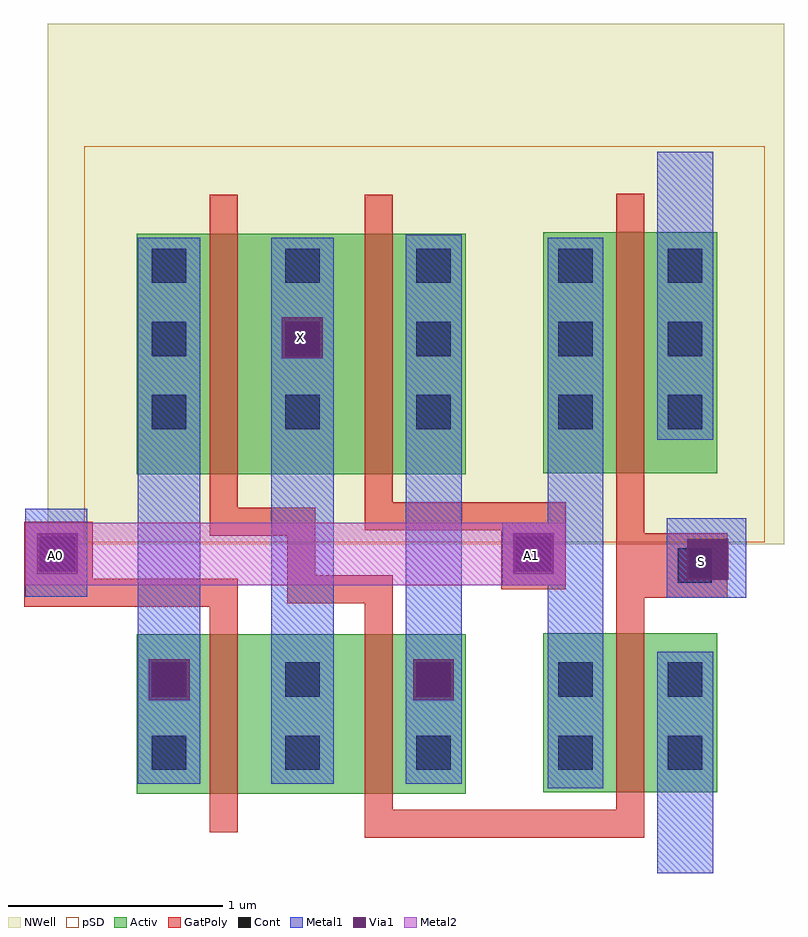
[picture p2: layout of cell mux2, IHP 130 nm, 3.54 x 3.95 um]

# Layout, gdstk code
import gdstk
lib = gdstk.Library(unit=1e-6, precision=1e-09)
def R(c, l, rs):  # rectangles x0, y0, x1, y1
    for r in rs: c.add(gdstk.rectangle(r[:2], r[2:], *l))
def A(c, l, x, y, w, h, nx, ny, dx, dy):  # array of equal rectangles
    R(c, l, [(x+i*dx, y+j*dy, x+i*dx+w, y+j*dy+h) for i in range(nx) for j in range(ny)])
def P(c, l, *ps):  # polygons
    for p in ps: c.add(gdstk.Polygon(p, *l))
Activ = (1, 0)
GatPoly = (5, 0)
Cont = (6, 0)
Metal1 = (8, 0)
Metal2 = (10, 0)
pSD = (14, 0)
Via1 = (19, 0)
NWell = (31, 0)

mux2 = lib.new_cell('mux2')
R(mux2, Activ, [(0.525,0.37,2.055,1.11), (2.415,0.375,3.225,1.115), (0.525,1.855,2.055,2.975), (2.415,1.86,3.225,2.98)])
P(mux2, GatPoly, [(1.585,0.165),(1.585,1.255),(1.225,1.255),(1.225,1.57),(0.865,1.57),(0.865,3.155),(0.995,3.155),(0.995,1.7),(1.355,1.7),(1.355,1.385),(1.715,1.385),(1.715,0.295),(2.755,0.295),(2.755,3.16),(2.885,3.16),(2.885,1.58),(3.27,1.58),(3.27,1.28),(2.885,1.28),(2.885,0.165)],
  [(0.865,0.19),(0.865,1.24),(0,1.24),(0,1.635),(0.32,1.635),(0.32,1.37),(0.995,1.37),(0.995,0.19)],
  [(2.22,1.32),(2.22,1.595),(1.585,1.595),(1.585,3.155),(1.715,3.155),(1.715,1.725),(2.22,1.725),(2.52,1.725),(2.52,1.32)])
A(mux2, Cont, 0.595, 2.065, 0.16, 0.16, 1, 3, 0, 0.34)
A(mux2, Cont, 1.215, 2.065, 0.16, 0.16, 1, 3, 0, 0.34)
A(mux2, Cont, 1.825, 2.065, 0.16, 0.16, 1, 3, 0, 0.34)
A(mux2, Cont, 2.485, 2.065, 0.16, 0.16, 1, 3, 0, 0.34)
A(mux2, Cont, 2.995, 2.065, 0.16, 0.16, 1, 3, 0, 0.34)
R(mux2, Cont, [(0.595,0.48,0.755,0.64), (1.215,0.48,1.375,0.64), (1.825,0.48,1.985,0.64), (2.485,0.48,2.645,0.64), (2.995,0.48,3.155,0.64), (0.595,0.82,0.755,0.98), (1.215,0.82,1.375,0.98), (1.825,0.82,1.985,0.98), (2.485,0.82,2.645,0.98), (2.995,0.82,3.155,0.98), (3.04,1.35,3.2,1.51), (0.075,1.405,0.235,1.565), (2.29,1.405,2.45,1.565)])
R(mux2, Metal1, [(2.945,0,3.205,1.03), (0.53,0.415,0.82,2.955), (1.15,0.415,1.44,2.955), (1.775,0.415,2.035,2.97), (2.99,1.28,3.36,1.65), (0.005,1.285,0.295,1.695), (2.945,2.015,3.205,3.355)])
P(mux2, Metal1, [(2.435,0.395),(2.435,1.34),(2.225,1.34),(2.225,1.63),(2.435,1.63),(2.435,2.955),(2.695,2.955),(2.695,0.395)])
R(mux2, Metal2, [(0.005,1.34,2.52,1.63)])
R(mux2, pSD, [(0.28,1.54,3.445,3.38)])
R(mux2, Via1, [(0.58,0.805,0.77,0.995), (1.81,0.805,2,0.995), (3.085,1.365,3.275,1.555), (0.06,1.39,0.25,1.58), (2.275,1.39,2.465,1.58), (1.2,2.395,1.39,2.585)])
R(mux2, NWell, [(0.11,1.53,3.535,3.95)])
mux2.add(gdstk.Label('S', (3.15,1.45), layer=0, texttype=0))
mux2.add(gdstk.Label('A0', (0.145,1.475), layer=0, texttype=0))
mux2.add(gdstk.Label('A1', (2.36,1.475), layer=0, texttype=0))
mux2.add(gdstk.Label('X', (1.285,2.49), layer=0, texttype=0))

lib.write_gds('mux2.gds')
